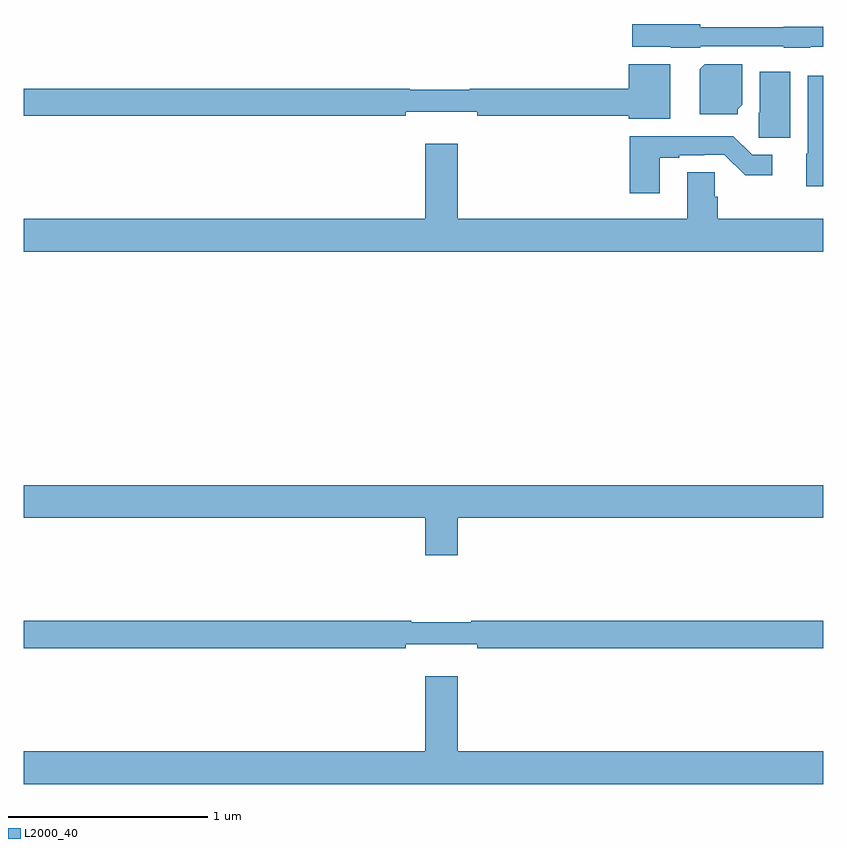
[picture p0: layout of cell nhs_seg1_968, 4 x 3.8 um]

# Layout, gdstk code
import gdstk
lib = gdstk.Library(unit=1e-6, precision=1e-09)
def P(c, l, *ps):  # polygons
    for p in ps: c.add(gdstk.Polygon(p, *l))
L2000_40 = (2000, 40)

nhs_seg1_968 = lib.new_cell('nhs_seg1_968')
P(nhs_seg1_968, L2000_40, [(166.386,558.087),(166.803,558.087),(166.803,558.08),(166.935,558.08),(166.935,558.086),(167,558.086),(167,558.185),(166.803,558.185),(166.803,558.183),(166.386,558.183),(166.386,558.199),(166.045,558.199),(166.045,558.086),(166.236,558.086),(166.236,558.08),(166.386,558.08)],
  [(166.572,557.772),(166.594,557.794),(166.594,557.998),(166.408,557.998),(166.382,557.972),(166.382,557.747),(166.572,557.747)],
  [(166.234,557.998),(166.028,557.998),(166.028,557.876),(165.232,557.876),(165.232,557.869),(164.932,557.869),(164.932,557.876),(163,557.876),(163,557.74),(164.912,557.74),(164.912,557.759),(165.268,557.759),(165.268,557.74),(166.028,557.74),(166.028,557.726),(166.234,557.726)],
  [(166.834,557.959),(166.682,557.959),(166.682,557.754),(166.678,557.754),(166.678,557.631),(166.834,557.631)],
  [(167,557.941),(166.922,557.941),(166.922,557.55),(166.916,557.55),(166.916,557.388),(167,557.388)],
  [(166.183,557.529),(166.279,557.529),(166.279,557.541),(166.406,557.541),(166.406,557.544),(166.506,557.544),(166.609,557.442),(166.744,557.442),(166.744,557.544),(166.644,557.544),(166.55,557.638),(166.031,557.638),(166.031,557.352),(166.183,557.352)],
  [(167,557.224),(166.472,557.224),(166.472,557.334),(166.458,557.334),(166.458,557.456),(166.319,557.456),(166.319,557.224),(165.172,557.224),(165.172,557.599),(165.008,557.599),(165.008,557.224),(163,557.224),(163,557.06),(167,557.06)],
  [(165.172,555.728),(167,555.728),(167,555.892),(163,555.892),(163,555.728),(165.008,555.728),(165.008,555.54),(165.172,555.54)],
  [(164.912,555.095),(165.268,555.095),(165.268,555.076),(167,555.076),(167,555.212),(165.239,555.212),(165.239,555.205),(164.939,555.205),(164.939,555.212),(163,555.212),(163,555.076),(164.912,555.076)],
  [(167,554.56),(165.172,554.56),(165.172,554.935),(165.008,554.935),(165.008,554.56),(163,554.56),(163,554.396),(167,554.396)])

lib.write_gds('nhs_seg1_968.gds')
